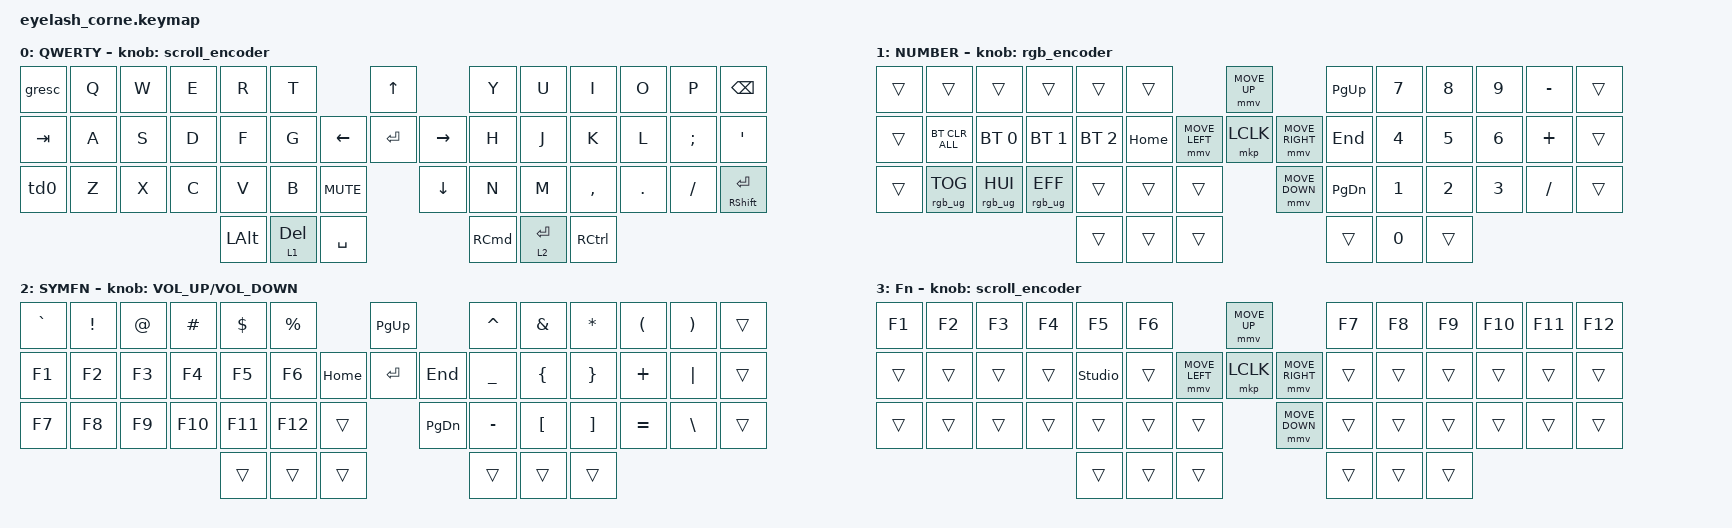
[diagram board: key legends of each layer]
#include <behaviors.dtsi>
#include <dt-bindings/zmk/bt.h>
#include <dt-bindings/zmk/keys.h>
#include <dt-bindings/zmk/mouse.h>
#include <dt-bindings/zmk/outputs.h>
#include <dt-bindings/zmk/rgb.h>
#include <dt-bindings/zmk/pointing.h>
#include <zephyr/dt-bindings/input/input-event-codes.h>
#include <input/processors.dtsi>
#include <dt-bindings/zmk/ext_power.h>

&mmv_input_listener {
   input-processors = <&zip_xy_scaler 2 1>;
};

&msc_input_listener {
   input-processors = <&zip_xy_scaler 2 1>;
};

#define ZMK_MOUSE_DEFAULT_MOVE_VAL 1200  // 600
#define ZMK_MOUSE_DEFAULT_SCRL_VAL 120    // 10
#define ZMK_MOUSE_SCRL_VAL 140

&msc {
    acceleration-exponent = <1>;      // 0
    time-to-max-speed-ms = <100>;       // 300
    delay-ms = <0>;                   // 0
};

&mmv {
    time-to-max-speed-ms = <500>;
    acceleration-exponent = <1>;
    trigger-period-ms = <16>;
};

/ {
    behaviors {         
       ht_tp: homerow_mods {
            compatible = "zmk,behavior-hold-tap";
            #binding-cells = <2>;
            tapping-term-ms = <200>;
            #require-prior-idle-ms = <125>;
            flavor = "tap-preferred";
            bindings = <&kp>, <&kp>;
        };

        td0: td0 {
                compatible = "zmk,behavior-tap-dance";
                display-name = "Shift/Caps Lock Tap Dance";
                #binding-cells = <0>;
                bindings = <&kp LEFT_SHIFT>, <&kp CAPS>;
        };

        rgb_encoder: rgb_encoder {
            compatible = "zmk,behavior-sensor-rotate";
            #sensor-binding-cells = <0>;
            bindings = <&rgb_ug RGB_BRI>, <&rgb_ug RGB_BRD>;
        };

        scroll_encoder: scroll_encoder {
            compatible = "zmk,behavior-sensor-rotate";
            #sensor-binding-cells = <0>;
            bindings = <&msc SCRL_DOWN>, <&msc SCRL_UP>;
            tap-ms = <20>;
        };
    };

    keymap {
        compatible = "zmk,keymap";

        default_layer {
            display-name = "QWERTY";
            bindings = <
&gresc   &kp Q  &kp W  &kp E  &kp R  &kp T                        &kp UP                &kp Y  &kp U  &kp I      &kp O    &kp P     &kp BSPC
&kp TAB  &kp A  &kp S  &kp D  &kp F  &kp G              &kp LEFT  &kp ENTER  &kp RIGHT  &kp H  &kp J  &kp K      &kp L    &kp SEMI  &kp SQT
&td0     &kp Z  &kp X  &kp C  &kp V  &kp B    &kp C_MUTE          &kp DOWN              &kp N  &kp M  &kp COMMA  &kp DOT  &kp FSLH  &ht_tp RSHIFT RET
                              &kp LALT  &lt 1 DEL  &kp SPACE                     &kp RCMD  &lt 2 RET  &kp RCTRL
            >;
            sensor-bindings = <&scroll_encoder>;
        };

        lower_layer {
            display-name = "NUMBER";
            bindings = <
&trans  &trans          &trans          &trans          &trans       &trans                         &mmv MOVE_UP                &kp PG_UP &kp N7  &kp N8  &kp N9  &kp MINUS  &trans
&trans  &bt BT_CLR_ALL  &bt BT_SEL 0    &bt BT_SEL 1    &bt BT_SEL 2 &kp HOME        &mmv MOVE_LEFT &mkp LCLK  &mmv MOVE_RIGHT  &kp END   &kp N4  &kp N5  &kp N6  &kp PLUS   &trans
&trans  &rgb_ug RGB_TOG &rgb_ug RGB_HUI &rgb_ug RGB_EFF &trans       &trans  &trans                 &mmv MOVE_DOWN              &kp PG_DN &kp N1  &kp N2  &kp N3  &kp FSLH   &trans
                                                        &trans       &trans  &trans                                     &trans  &kp N0  &trans
            >;
            sensor-bindings = <&rgb_encoder>;
        };

        raise_layer {
            display-name = "SYMFN";
            bindings = <
&kp GRAVE &kp EXCL &kp AT  &kp HASH &kp DLLR &kp PRCNT                   &kp PG_UP           &kp CARET  &kp AMPS   &kp ASTRK  &kp LPAR  &kp RPAR  &trans
&kp F1    &kp F2   &kp F3  &kp F4   &kp F5   &kp F6            &kp HOME  &kp ENTER  &kp END  &kp UNDER  &kp LBRC   &kp RBRC   &kp PLUS  &kp PIPE  &trans 
&kp F7    &kp F8   &kp F9  &kp F10  &kp F11  &kp F12   &trans            &kp PG_DN           &kp MINUS  &kp LBKT   &kp RBKT   &kp EQUAL &kp BSLH  &trans   
                                    &trans   &trans    &trans                      &trans    &trans     &trans
            >;
            sensor-bindings = <&inc_dec_kp C_VOLUME_UP C_VOLUME_DOWN>;
        };

        layer_3 {
            display-name = "Fn";
            bindings = <
&kp F1   &kp F2   &kp F3   &kp F4   &kp F5  &kp F6                                &mmv MOVE_UP                       &kp F7  &kp F8  &kp F9  &kp F10  &kp F11  &kp F12
&trans  &trans   &trans   &trans   &studio_unlock   &trans                &mmv MOVE_LEFT  &mkp LCLK       &mmv MOVE_RIGHT    &trans  &trans  &trans  &trans   &trans   &trans
&trans  &trans   &trans   &trans   &trans   &trans     &trans                   &mmv MOVE_DOWN                       &trans  &trans  &trans  &trans   &trans   &trans
                                   &trans   &trans     &trans                                             &trans     &trans  &trans
            >;
            sensor-bindings = <&scroll_encoder>;
        };
    };
};
